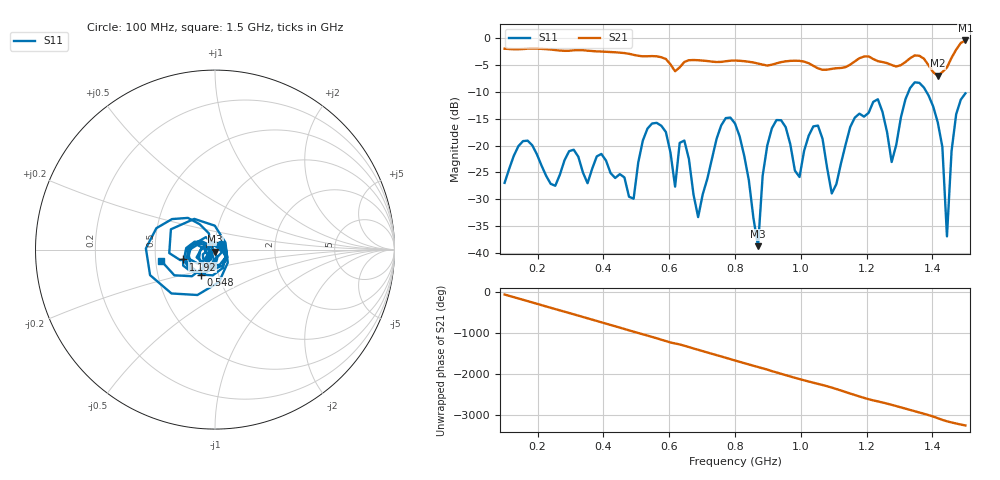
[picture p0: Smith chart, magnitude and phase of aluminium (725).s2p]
! NanoVNA-App
! Date: 2025-09-25 15:00:55
! Start: 100MHz Stop: 1,5GHz Points: 101
! S-Parameter data: F S11 S21 S12 S22
# Hz S RI R 50
!  Frequency  S11_Real  S11_Imag  S21_Real  S21_Imag  S12_Real  S12_Imag  S22_Real  S22_Imag
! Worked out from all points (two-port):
!   101 points, 100 MHz to 1.5 GHz, reference 50 ohm
!   highest |S21| = -0.38 dB at 1.5 GHz (marker M1); lowest = -7.0 dB at 1.416 GHz (marker M2)
!   |S21| within 3 dB of the highest: start of sweep to 565.5 MHz; 1.46 GHz to end of sweep (the widest 2 of 4)
!   lowest |S11| = -38.8 dB at 870 MHz (marker M3), VSWR 1.02, Z = 50 - j1.15 ohm
!   |S11| at or under -10 dB: start of sweep to 1.327 GHz; 1.382 GHz to end of sweep
!   S12 and S22 are empty: the file has one direction only
!   S11 on the Smith chart (normalised r, x): 100 MHz: 1.07, +0.06; 548 MHz: 0.82, -0.23; 1.192 GHz: 0.69, -0.08; 1.5 GHz: 0.53, -0.07
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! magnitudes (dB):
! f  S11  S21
! 100 MHz  -27.0  -1.9
! 338 MHz  -25.0  -2.2
! 492 MHz  -29.9  -3.1
! 548 MHz  -15.9  -3.3
! 576 MHz  -16.3  -3.5
! 618 MHz  -27.7  -6.1
! 646 MHz  -19.1  -4.4
! 688 MHz  -33.4  -4.1
! 800 MHz  -15.9  -4.1
! 870 MHz  -38.8  -4.7
! 912 MHz  -16.8  -4.9
! 996 MHz  -25.9  -4.2
! 1.038 GHz  -16.4  -5.1
! 1.094 GHz  -28.9  -5.7
! 1.192 GHz  -14.6  -3.4
! 1.234 GHz  -11.4  -4.2
! 1.276 GHz  -23.1  -5.0
! 1.346 GHz  -8.2  -3.2
! 1.416 GHz  -15.7  -7.0
! 1.444 GHz  -37.0  -5.4
! 1.472 GHz  -14.2  -2.1
! 1.5 GHz  -10.3  -0.4
